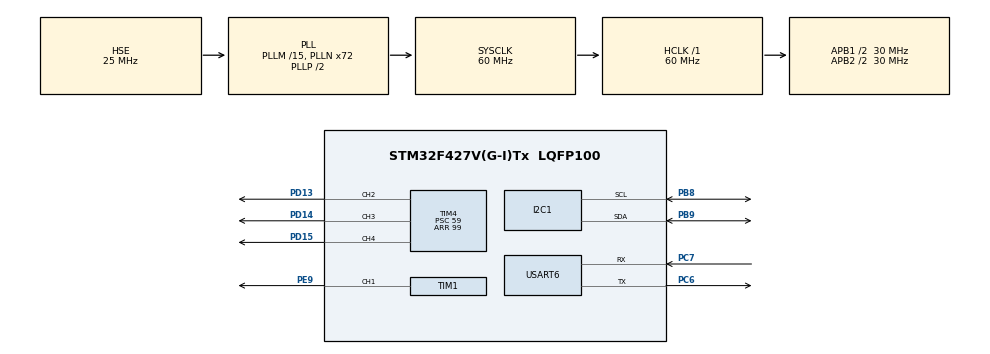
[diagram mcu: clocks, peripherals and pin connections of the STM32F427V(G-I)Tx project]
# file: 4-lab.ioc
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I2C1.I2C_Mode=I2C_Fast
Mcu.Family=STM32F4
Mcu.Name=STM32F427V(G-I)Tx
Mcu.Package=LQFP100
NVIC.PriorityGroup=NVIC_PRIORITYGROUP_4
NVIC.TIM6_DAC_IRQn=true\:0\:0\:false\:false\:true\:true\:true\:true
PA13.Mode=JTAG_5_pins
PA13.Signal=SYS_JTMS-SWDIO
PA14.Mode=JTAG_5_pins
PA14.Signal=SYS_JTCK-SWCLK
PA15.Mode=JTAG_5_pins
PA15.Signal=SYS_JTDI
PB3.Mode=JTAG_5_pins
PB3.Signal=SYS_JTDO-SWO
PB4.Mode=JTAG_5_pins
PB4.Signal=SYS_JTRST
PB8.Mode=I2C
PB8.Signal=I2C1_SCL
PB9.Mode=I2C
PB9.Signal=I2C1_SDA
PC6.Mode=Asynchronous
PC6.Signal=USART6_TX
PC7.Mode=Asynchronous
PC7.Signal=USART6_RX
PD13.Signal=S_TIM4_CH2
PD14.Signal=S_TIM4_CH3
PD15.Signal=S_TIM4_CH4
PE9.Signal=S_TIM1_CH1
PH0/OSC_IN.Mode=HSE-External-Oscillator
PH0/OSC_IN.Signal=RCC_OSC_IN
PH1/OSC_OUT.Mode=HSE-External-Oscillator
PH1/OSC_OUT.Signal=RCC_OSC_OUT
ProjectManager.HeapSize=0x200
ProjectManager.StackSize=0x400
ProjectManager.TargetToolchain=STM32CubeIDE
RCC.48MHZClocksFreq_Value=30000000
RCC.AHBFreq_Value=60000000
RCC.APB1CLKDivider=RCC_HCLK_DIV2
RCC.APB1Freq_Value=30000000
RCC.APB1TimFreq_Value=60000000
RCC.APB2CLKDivider=RCC_HCLK_DIV2
RCC.APB2Freq_Value=30000000
RCC.APB2TimFreq_Value=60000000
RCC.CortexFreq_Value=60000000
RCC.HCLKFreq_Value=60000000
RCC.HSE_VALUE=25000000
RCC.HSI_VALUE=16000000
RCC.LSE_VALUE=32768
RCC.PLLM=15
RCC.PLLN=72
RCC.PLLSourceVirtual=RCC_PLLSOURCE_HSE
RCC.SYSCLKFreq_VALUE=60000000
RCC.SYSCLKSource=RCC_SYSCLKSOURCE_PLLCLK
RCC.VCOOutputFreq_Value=120000000
SH.S_TIM1_CH1.0=TIM1_CH1,PWM Generation1 CH1
SH.S_TIM4_CH2.0=TIM4_CH2,PWM Generation2 CH2
SH.S_TIM4_CH3.0=TIM4_CH3,PWM Generation3 CH3
SH.S_TIM4_CH4.0=TIM4_CH4,PWM Generation4 CH4
TIM1.Channel-PWM\ Generation1\ CH1=TIM_CHANNEL_1
TIM1.Period=0
TIM1.Prescaler=59
TIM1.Pulse-PWM\ Generation1\ CH1=32769
TIM4.Channel-PWM\ Generation2\ CH2=TIM_CHANNEL_2
TIM4.Channel-PWM\ Generation3\ CH3=TIM_CHANNEL_3
TIM4.Channel-PWM\ Generation4\ CH4=TIM_CHANNEL_4
TIM4.Period=99
TIM4.Prescaler=59
TIM6.Period=0
TIM6.Prescaler=59999
USART6.VirtualMode=VM_ASYNC
VP_TIM6_VS_ClockSourceINT.Mode=Enable_Timer
board=custom

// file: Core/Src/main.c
/* USER CODE BEGIN Header */
/**
  ******************************************************************************
  * @file           : main.c
  * @brief          : Main program body
  ******************************************************************************
  * @attention
  *
  * Copyright (c) 2024 STMicroelectronics.
  * All rights reserved.
  *
  * This software is licensed under terms that can be found in the LICENSE file
  * in the root directory of this software component.
  * If no LICENSE file comes with this software, it is provided AS-IS.
  *
  ******************************************************************************
  */
/* USER CODE END Header */
#include "main.h"
#include "i2c.h"
#include "tim.h"
#include "usart.h"
#include "gpio.h"

/* USER CODE BEGIN Includes */
#include "stdio.h"
#include "stdbool.h"
#include "string.h"
/* USER CODE END Includes */

/* USER CODE BEGIN PTD */
typedef enum {
	GREEN = 0,
	YELLOW,
	RED
} LED;

typedef enum {
	LOW = 20,
	MEDIUM = 50,
	HIGH = 100
} LEDBrightness;

typedef struct {
	LED led;
	LEDBrightness brightness;
	uint32_t frequency;
} Note;

typedef enum {
	INFO = 0,
	PLAY
} GameMode;

typedef enum {
	ALL = 0,
	LED_ONLY,
	SOUND_ONLY
} NoteMode;

typedef enum {
	EASY = 3,
	NORMAL = 2,
	HARD = 1
} Difficulty;
/* USER CODE END PTD */

/* USER CODE BEGIN PD */
#define CLOCK_SCALED_FREQUENCY	1000000		// frequency after scaling with PSC (supposed to be same on every timer in use)
#define LED_PWM_FREQUENCY		500
#define ENTER_ASCII				'\r'
#define	INPUT_PORT_REG			(0x00)
#define	OUTPUT_PORT_REG			(0x01)
#define	POLARITY_INV_REG		(0x02)
#define CONFIG_REG				(0x03)
#define KEYPAD_ADDRESS			(0xE2)
#define KEYPAD_WRITE_ADDRESS	((KEYPAD_ADDRESS) & ~1)
#define KEYPAD_READ_ADDRESS		((KEYPAD_ADDRESS) | 1)
#define COLUMN_MASK				0x7
#define CONTACT_BOUNCE_MS		20
/* USER CODE END PD */

/* USER CODE BEGIN PV */
uint32_t last_pressed_time;
int last_pressed_key_index = -2;

uint16_t led_arr_value = CLOCK_SCALED_FREQUENCY / LED_PWM_FREQUENCY;

char newline[] = "\r\n";

char test_mode_msg[] = "\n\rCurrent mode: keypad test\n\r";
char main_mode_msg[] = "\n\rCurrent mode: main\n\r";

char game_started_msg[] = "\n\rGame started!\n\r";
char game_finished_msg[] = "\n\rGame finished\n\r";

char note_mode_all_msg[] = "\n\rCurrent note mode: all\n\r";
char note_mode_led_msg[] = "\n\rCurrent note mode: led only\n\r";
char note_mode_sound_msg[] = "\n\rCurrent note mode: sound only\n\r";

char difficulty_easy_msg[] = "\n\rCurrent difficulty: easy\n\r";
char difficulty_normal_msg[] = "\n\rCurrent difficulty: normal\n\r";
char difficulty_hard_msg[] = "\n\rCurrent difficulty: hard\n\r";

char countdown_prepare_msg[] = "\n\rPrepare yourself!\n\r";
char countdown_3_msg[] = "\n\rStarting in 3...\n\r";
char countdown_2_msg[] = "\n\rStarting in 2...\n\r";
char countdown_1_msg[] = "\n\rStarting in 1...\n\r";

char guess_note_msg[] = "Guess the note: ";

bool game_started = false;

Difficulty difficulty = EASY;

char buf_char[2] = {'\0', '\0'};

GameMode game_mode = INFO;
NoteMode note_mode = ALL;

Note notes[] = {
		{GREEN,		LOW,		100},
		{GREEN,		MEDIUM,		200},
		{GREEN,		HIGH,		300},
		{YELLOW,	LOW,		400},
		{YELLOW,	MEDIUM,		500},
		{YELLOW,	HIGH,		600},
		{RED,		LOW,		700},
		{RED,		MEDIUM,		800},
		{RED,		HIGH,		900}
};

uint8_t note_sequence_length = 20;
uint8_t note_sequence[] = {1, 2, 3, 4, 5, 6, 7, 8, 9, 1, 2, 3, 4, 5, 6, 7, 8, 9, 1, 2};
bool guess_status[] = {false, false, false, false, false, false, false, false, false, false, false, false, false, false, false, false, false, false, false, false};
uint8_t cur_note_ptr = 0;
uint8_t cur_guess = 0;

void init_led_pwm(void) {
	htim4.Instance->ARR = led_arr_value;
}

/* USER CODE END PV */

void SystemClock_Config(void);

/* USER CODE BEGIN 0 */
extern void initialise_monitor_handles(void);

bool is_digit(char *c) {
	return '1' <= *c && *c <= '9';
}

bool is_button_pressed(void) {
	 return HAL_GPIO_ReadPin(GPIOC, GPIO_PIN_15) == 0;
 }

void uart_write(char *data) {
	uint16_t size = strlen(data);
	HAL_UART_Transmit(&huart6, (uint8_t *) data, size, 100);
}

void uart_write_newline(void) {
	uart_write(newline);
}

bool process_char(char *c) {
	if (is_digit(&c[0]) || ENTER_ASCII == c[0])
		return true;
	if (('a' == c[0] || '+' == c[0]) && game_mode == INFO)
		return true;
	c[0] = '\0';
	return false;
}

void uart_read_char(void) {
	HAL_StatusTypeDef status = HAL_UART_Receive(&huart6, (uint8_t *) buf_char, sizeof(char), 100);
	if (HAL_OK == status && process_char(buf_char))
		uart_write(buf_char);
}

void play_sound(uint32_t *frequency) {
	htim1.Instance->ARR = (1000000 / (*frequency)) - 1; // Set The PWM Frequency
	htim1.Instance->CCR1 = (htim1.Instance->ARR >> 1); // Set Duty Cycle 50%
}

void mute(void) {
	htim1.Instance->CCR1 = 0;
}

void disable_all_leds(void) {
	htim4.Instance->CCR2 = 0;
	htim4.Instance->CCR3 = 0;
	htim4.Instance->CCR4 = 0;
}

void light_led(LED *led, LEDBrightness *brightness) {
	disable_all_leds();
	uint16_t ccr_value = CLOCK_SCALED_FREQUENCY / LED_PWM_FREQUENCY * (*brightness) / 100;
	switch (*led) {
		case GREEN:
			htim4.Instance->CCR2 = ccr_value;
			break;
		case YELLOW:
			htim4.Instance->CCR3 = ccr_value;
			break;
		case RED:
			htim4.Instance->CCR4 = ccr_value;
			break;
	}
}

void play_note(Note *note) {
	switch (note_mode) {
		case ALL:
			play_sound(&note->frequency);
			light_led(&note->led, &note->brightness);
			break;
		case LED_ONLY:
			light_led(&note->led, &note->brightness);
			break;
		case SOUND_ONLY:
			play_sound(&note->frequency);
			break;
	}
}

void stop_note(void) {
	mute();
	disable_all_leds();
}

void uart_write_note_info(Note *note) {
	char buf[256];
	char *colour = note->led == GREEN ? "green" : (note->led == YELLOW ? "yellow" : "red");
	uint8_t brightness = note->brightness == LOW ? 20 : (note->brightness == MEDIUM ? 50 : 100);

	sprintf(buf, "\n\rNote colour: %s\n\rNote brightness: %d\n\rNote frequency: %lu\n\r", colour, brightness, note->frequency);

	uart_write(buf);
}

HAL_StatusTypeDef reset_keypad(void) {
	uint8_t buf = 0;
	HAL_StatusTypeDef status = HAL_I2C_Mem_Write(&hi2c1, KEYPAD_WRITE_ADDRESS, POLARITY_INV_REG, 1, &buf, 1, 100);
	if (status != HAL_OK)
		return status;
	status = HAL_I2C_Mem_Write(&hi2c1, KEYPAD_WRITE_ADDRESS, OUTPUT_PORT_REG, 1, &buf, 1, 100);
	return status;
}

int keypad_read_key_index(void) {
	uint32_t cur_time = HAL_GetTick();
	if (cur_time - last_pressed_time < CONTACT_BOUNCE_MS) return -1;

    int key_index = -1;
    uint8_t buf;
    uint16_t pressed_column;

    for (int row = 0; row < 4; row++) {
        buf = ~((uint8_t) (1 << row));
        pressed_column = 0x00;

        reset_keypad();

        HAL_I2C_Mem_Write(&hi2c1, KEYPAD_WRITE_ADDRESS, CONFIG_REG, 1, &buf, 1, 100);
        HAL_Delay(10);
        HAL_I2C_Mem_Read(&hi2c1, KEYPAD_READ_ADDRESS, INPUT_PORT_REG, 1, &buf, 1, 100);

        pressed_column = (~(buf >> 4)) & COLUMN_MASK;
        switch (pressed_column) {
            case 0x1:
                if (key_index != -1) return -1;
                key_index = row * 3;
                break;
            case 0x2:
                if (key_index != -1) return -1;
                key_index = (row * 3) + 1;
                break;
            case 0x4:
                if (key_index != -1) return -1;
                key_index = (row * 3) + 2;
                break;
        }
    }

    if (key_index != -1) last_pressed_time = cur_time;
    if (key_index == last_pressed_key_index)
    	return -1;
    last_pressed_key_index = key_index;
    return key_index;
}

void countdown_start_game(void) {
	uart_write(countdown_prepare_msg);
	uart_write(countdown_3_msg);
	HAL_Delay(1000);
	uart_write(countdown_2_msg);
	HAL_Delay(1000);
	uart_write(countdown_1_msg);
	HAL_Delay(1000);
}

void stop_timer(void) {
	HAL_TIM_Base_Stop_IT(&htim6);
	htim6.Instance->ARR = 0;
}

void set_timer_ms(uint32_t ms) {
	htim6.Instance->ARR = ms - 1;
	HAL_TIM_Base_Start_IT(&htim6);
}

void finish_game(void) {
	stop_timer();
	stop_note();

	uart_write_newline();
	uart_write(game_finished_msg);

	char buf[256];
	uint8_t points = 0;
	for (uint8_t i = 0; i < note_sequence_length; i++) {
		sprintf(buf, "Note %d: %s\n\r", i + 1, guess_status[i] ? "correct" : "wrong");
		uart_write(buf);
		points += (guess_status[i] * (4 - difficulty));

		guess_status[i] = false;
	}

	sprintf(buf, "Your score: %d\n\r", points);
	uart_write(buf);

	cur_note_ptr = 0;
	cur_guess = 0;
	game_started = false;
}

void switch_game_mode(void) {
	switch (game_mode) {
		case INFO:
			game_mode = PLAY;
			countdown_start_game();
			uart_write(game_started_msg);
			uart_write(guess_note_msg);
			play_note(&notes[note_sequence[cur_note_ptr] - 1]);
			set_timer_ms(difficulty * 1000);
			break;
		case PLAY:
			game_mode = INFO;
			if (cur_note_ptr < note_sequence_length && cur_guess == note_sequence[cur_note_ptr])
				guess_status[cur_note_ptr] = true;
			finish_game();
			break;
	}
}

void switch_note_mode(void) {
	stop_note();
	switch (note_mode) {
		case ALL:
			note_mode = LED_ONLY;
			uart_write(note_mode_led_msg);
			break;
		case LED_ONLY:
			note_mode = SOUND_ONLY;
			uart_write(note_mode_sound_msg);
			break;
		case SOUND_ONLY:
			note_mode = ALL;
			uart_write(note_mode_all_msg);
			break;
	}
}

void switch_difficulty(void) {
	switch (difficulty) {
		case EASY:
			difficulty= NORMAL;
			uart_write(difficulty_normal_msg);
			break;
		case NORMAL:
			difficulty= HARD;
			uart_write(difficulty_hard_msg);
			break;
		case HARD:
			difficulty= EASY;
			uart_write(difficulty_easy_msg);
			break;
	}
}

void HAL_TIM_PeriodElapsedCallback(TIM_HandleTypeDef *htim) {
	if (htim->Instance == TIM6) {
		if (game_mode == INFO) {
			stop_note();
			stop_timer();
			return;
		}

		if (!game_started) {
			game_started = true;
			return;
		}

		if (cur_guess == note_sequence[cur_note_ptr])
			guess_status[cur_note_ptr] = true;

		cur_guess = 0;
		cur_note_ptr++;

		if (cur_note_ptr == note_sequence_length) {
			switch_game_mode();
		} else {
			uart_write_newline();
			uart_write(guess_note_msg);
			play_note(&notes[note_sequence[cur_note_ptr] - 1]);
		}
	}
}

/* USER CODE END 0 */

int main(void)
{
  /* USER CODE BEGIN 1 */
	initialise_monitor_handles();
  /* USER CODE END 1 */

  /* MCU Configuration--------------------------------------------------------*/

  /* Reset of all peripherals, Initializes the Flash interface and the Systick. */
  HAL_Init();

  /* Configure the system clock */
  SystemClock_Config();

  /* Initialize all configured peripherals */
  MX_GPIO_Init();
  MX_TIM4_Init();
  MX_TIM6_Init();
  MX_USART6_UART_Init();
  MX_TIM1_Init();
  MX_I2C1_Init();

  /* Infinite loop */
  /* USER CODE BEGIN WHILE */

  HAL_TIM_PWM_Start(&htim4, TIM_CHANNEL_2);
  HAL_TIM_PWM_Start(&htim4, TIM_CHANNEL_3);
  HAL_TIM_PWM_Start(&htim4, TIM_CHANNEL_4);

  HAL_TIM_Base_Start_IT(&htim1);
  HAL_TIM_PWM_Start(&htim1, TIM_CHANNEL_1);

  init_led_pwm();
  stop_timer();

  last_pressed_time = 0;
  bool button_pressed = false;
  bool is_test_mode = true;

  uart_write(is_test_mode ? test_mode_msg : main_mode_msg);

  int key_index;
  while (1)
  {
	  if (is_button_pressed() && button_pressed) continue;

	  button_pressed = is_button_pressed();

	  if (button_pressed) {
		  is_test_mode = !is_test_mode;
		  uart_write(is_test_mode ? test_mode_msg : main_mode_msg);
		  continue;
	  }

	  key_index = keypad_read_key_index();

	  if (key_index == -1)
		  continue;

	  if (is_test_mode) {
		  char buf[4];
		  sprintf(buf, "%d\n\r", key_index);
		  uart_write(buf);
		  continue;
	  }

	  if (key_index == 11) {
		  switch_game_mode();
		  continue;
	  }

	  if (0 <= key_index && key_index <= 8) {
		  if (game_mode == INFO) {
			  uint8_t id = key_index;
			  play_note(&notes[id]);
			  uart_write_note_info(&notes[id]);

			  set_timer_ms(1000);
		  } else {
			  cur_guess = key_index + 1;
			  char buf[4];
			  sprintf(buf, "%d", cur_guess);
			  uart_write(buf);
		  }
		  continue;
	  }

	  if (key_index == 9 && game_mode == INFO) {
		  switch_note_mode();
		  continue;
	  }

	  if (key_index == 10 && game_mode == INFO) {
		  switch_difficulty();
		  continue;
	  }

    /* USER CODE END WHILE */

  }
}

void SystemClock_Config(void)
{
  RCC_OscInitTypeDef RCC_OscInitStruct = {0};
  RCC_ClkInitTypeDef RCC_ClkInitStruct = {0};

  /** Configure the main internal regulator output voltage
  */
  __HAL_RCC_PWR_CLK_ENABLE();
  __HAL_PWR_VOLTAGESCALING_CONFIG(PWR_REGULATOR_VOLTAGE_SCALE3);

  /** Initializes the RCC Oscillators according to the specified parameters
  * in the RCC_OscInitTypeDef structure.
  */
  RCC_OscInitStruct.OscillatorType = RCC_OSCILLATORTYPE_HSE;
  RCC_OscInitStruct.HSEState = RCC_HSE_ON;
  RCC_OscInitStruct.PLL.PLLState = RCC_PLL_ON;
  RCC_OscInitStruct.PLL.PLLSource = RCC_PLLSOURCE_HSE;
  RCC_OscInitStruct.PLL.PLLM = 15;
  RCC_OscInitStruct.PLL.PLLN = 72;
  RCC_OscInitStruct.PLL.PLLP = RCC_PLLP_DIV2;
  RCC_OscInitStruct.PLL.PLLQ = 4;
  if (HAL_RCC_OscConfig(&RCC_OscInitStruct) != HAL_OK)
  {
    Error_Handler();
  }

  /** Initializes the CPU, AHB and APB buses clocks
  */
  RCC_ClkInitStruct.ClockType = RCC_CLOCKTYPE_HCLK|RCC_CLOCKTYPE_SYSCLK
                              |RCC_CLOCKTYPE_PCLK1|RCC_CLOCKTYPE_PCLK2;
  RCC_ClkInitStruct.SYSCLKSource = RCC_SYSCLKSOURCE_PLLCLK;
  RCC_ClkInitStruct.AHBCLKDivider = RCC_SYSCLK_DIV1;
  RCC_ClkInitStruct.APB1CLKDivider = RCC_HCLK_DIV2;
  RCC_ClkInitStruct.APB2CLKDivider = RCC_HCLK_DIV2;

  if (HAL_RCC_ClockConfig(&RCC_ClkInitStruct, FLASH_LATENCY_1) != HAL_OK)
  {
    Error_Handler();
  }
}

void Error_Handler(void)
{
  __disable_irq();
  while (1)
  {
  }
}
